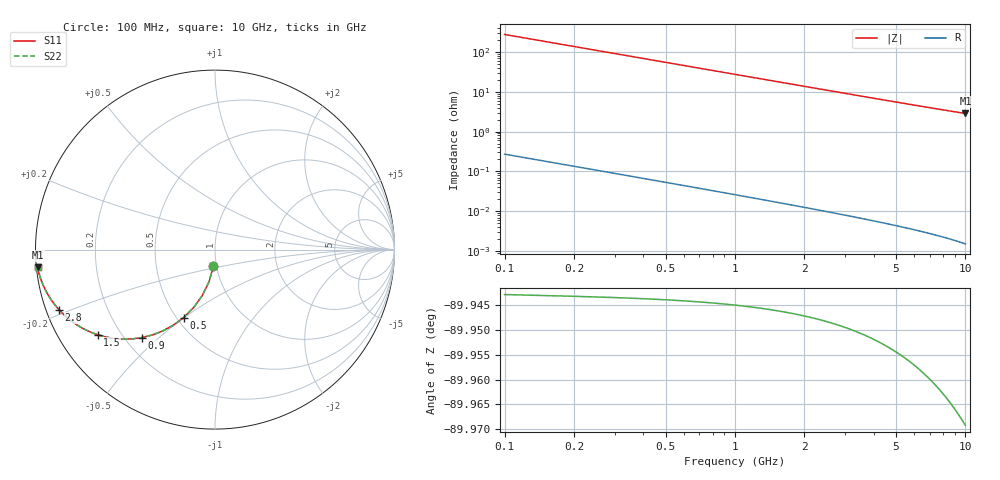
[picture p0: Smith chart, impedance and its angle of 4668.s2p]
# Hz S RI R 50.00
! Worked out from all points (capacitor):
!   100 points, 100 MHz to 10 GHz, reference 50 ohm
!   read as one part in shunt: C = 5.84 pF near 100 MHz
!   lowest |Z| = 2.85 ohm at 10 GHz (marker M1)
!   S11 on the Smith chart (normalised r, x): 100 MHz: 0.97, -0.18; 500 MHz: 0.54, -0.50; 900 MHz: 0.27, -0.44; 1.5 GHz: 0.12, -0.32; 2.8 GHz: 0.04, -0.19; 10 GHz: 0.00, -0.05
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1e8  -0.00838 -0.0909  0.9915 -0.091  0.9915 -0.091  -0.00838 -0.0909
2e8  -0.0327 -0.1773  0.9672 -0.1776  0.9672 -0.1776  -0.0327 -0.1773
3e8  -0.0706 -0.2555  0.9293 -0.2559  0.9293 -0.2559  -0.0706 -0.2555
4e8  -0.1189 -0.323  0.881 -0.3235  0.881 -0.3235  -0.1189 -0.323
5e8  -0.1741 -0.3784  0.8258 -0.379  0.8258 -0.379  -0.1741 -0.3784
6e8  -0.2327 -0.4217  0.7671 -0.4225  0.7671 -0.4225  -0.2327 -0.4217
7e8  -0.2922 -0.4538  0.7077 -0.4547  0.7077 -0.4547  -0.2922 -0.4538
8e8  -0.3502 -0.476  0.6497 -0.4771  0.6497 -0.4771  -0.3502 -0.476
9e8  -0.4055 -0.4899  0.5944 -0.4911  0.5944 -0.4911  -0.4055 -0.4899
1e9  -0.4571 -0.497  0.5428 -0.4983  0.5428 -0.4983  -0.4571 -0.497
1.2e9  -0.5479 -0.4964  0.452 -0.498  0.452 -0.498  -0.5479 -0.4964
1.5e9  -0.6543 -0.4741  0.3456 -0.476  0.3456 -0.476  -0.6543 -0.4741
1.8e9  -0.7315 -0.4414  0.2683 -0.4438  0.2683 -0.4438  -0.7315 -0.4414
2e9  -0.7708 -0.4184  0.229 -0.421  0.229 -0.421  -0.7708 -0.4184
2.3e9  -0.8164 -0.3851  0.1834 -0.388  0.1834 -0.388  -0.8164 -0.3851
2.8e9  -0.8683 -0.3358  0.1316 -0.3394  0.1316 -0.3394  -0.8683 -0.3358
3.4e9  -0.9067 -0.288  0.0932 -0.2924  0.0932 -0.2924  -0.9067 -0.288
4.2e9  -0.9369 -0.2398  0.063 -0.2453  0.063 -0.2453  -0.9369 -0.2398
5.1e9  -0.9563 -0.2004  0.0435 -0.207  0.0435 -0.207  -0.9563 -0.2004
6.7e9  -0.9743 -0.1531  0.0256 -0.1619  0.0256 -0.1619  -0.9743 -0.1531
8.4e9  -0.9835 -0.1208  0.0163 -0.1318  0.0163 -0.1318  -0.9835 -0.1208
1e10  -0.9884 -0.0994  0.0114 -0.1127  0.0114 -0.1127  -0.9884 -0.0994
